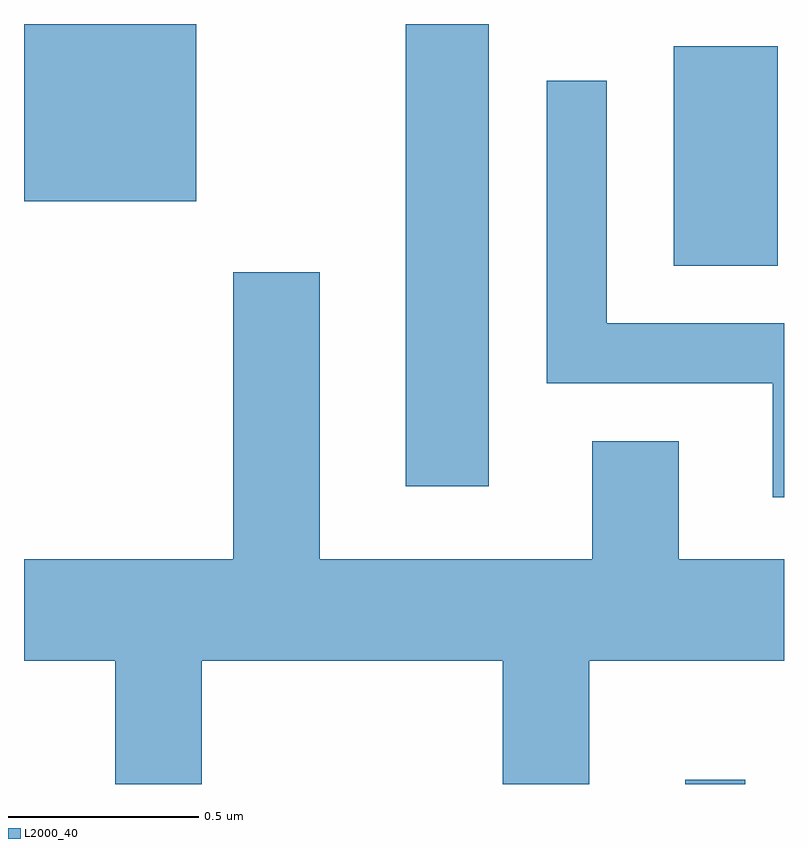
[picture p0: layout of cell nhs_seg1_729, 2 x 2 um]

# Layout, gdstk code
import gdstk
lib = gdstk.Library(unit=1e-6, precision=1e-09)
def R(c, l, rs):  # rectangles x0, y0, x1, y1
    for r in rs: c.add(gdstk.rectangle(r[:2], r[2:], *l))
def P(c, l, *ps):  # polygons
    for p in ps: c.add(gdstk.Polygon(p, *l))
L2000_40 = (2000, 40)

nhs_seg1_729 = lib.new_cell('nhs_seg1_729')
R(nhs_seg1_729, L2000_40, [(192.351,883.712,192.509,883.723), (191.616,884.496,191.834,885.712), (192.321,885.076,192.594,885.654), (190.611,885.246,191.064,885.712)])
P(nhs_seg1_729, L2000_40, [(192.611,884.924),(192.144,884.924),(192.144,885.563),(191.986,885.563),(191.986,884.766),(192.581,884.766),(192.581,884.466),(192.611,884.466)],
  [(191.079,884.036),(191.871,884.036),(191.871,883.712),(192.099,883.712),(192.099,884.036),(192.611,884.036),(192.611,884.304),(192.334,884.304),(192.334,884.614),(192.106,884.614),(192.106,884.304),(191.389,884.304),(191.389,885.059),(191.161,885.059),(191.161,884.304),(190.611,884.304),(190.611,884.036),(190.851,884.036),(190.851,883.712),(191.079,883.712)])

lib.write_gds('nhs_seg1_729.gds')
